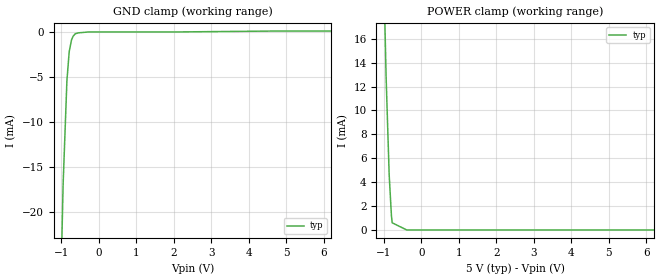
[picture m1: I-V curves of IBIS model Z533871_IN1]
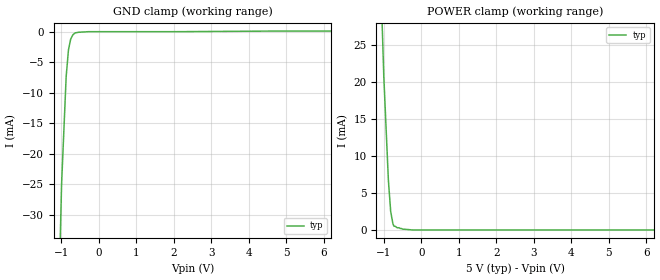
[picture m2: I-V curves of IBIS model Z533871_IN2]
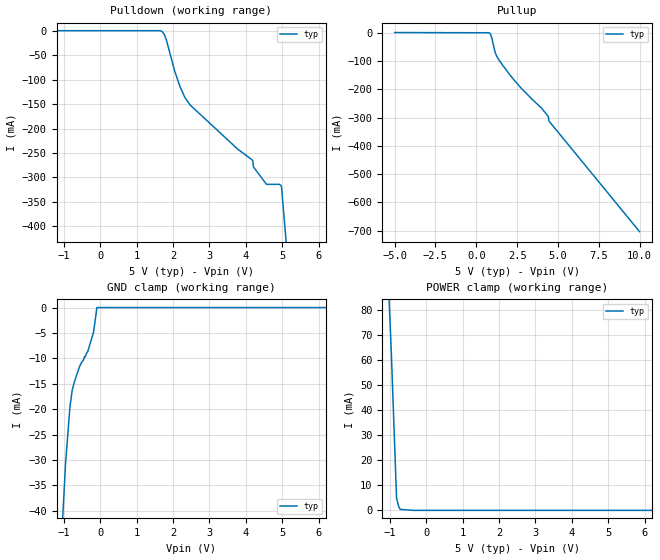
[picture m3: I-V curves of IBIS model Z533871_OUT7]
| YOU ARE ONLY AUTHORIZED TO USE THIS SOFTWARE
| ACCORDING TO LICENSOR'S LICENSE RESTRICTIONS.
[IBIS Ver] 3.1
[File Name] mc100el33d_pecl.ibs
[File Rev] 2.0
[Source] Measured and created by ICX Technology
[Date] Friday 7/14/00 9:07:48 AM
[Copyright]
| (C) COPYRIGHT 1993-2000
| MENTOR GRAPHICS CORPORATION
| ICX STANDARD LIBRARY, ICX PROJECT MODELING,
| ICX CUSTOM MODELING, ICX VENDOR MODEL
| ALL RIGHTS RESERVED.
| THE FOLLOWING ARE TRADEMARKS OR SERVICE MARKS OF
| MENTOR GRAPHICS CORPORATION:ICX (R), ICX STANDARD
| LIBRARY(R), ICX PROJECT MODELING(R), ICX CUSTOM
| MODELING(R), qualityIBIS(TM), MODELVIEWER(TM),
| AND MODELEDITOR(TM)
| ALL COPIES OF SOFTWARE, INCLUDING BUT NOT LIMITED TO
| ANY MODIFICATIONS, ENHANCEMENTS OR DERIVATIVE WORKS,
| MUST CONTAIN ALL MENTOR GRAPHICS CORPORATION'S
| NOTICES AND LEGENDS, INCLUDING THOSE EMBEDDED IN
| SOFTWARE AND THOSE AFFIXED TO SOFTWARE MEDIUM
| AND CONTAINER, AS RECEIVED FROM MENTOR GRAPHICS
| CORPORATION.
|  ZAP Model Builder 2.7
[Component] MC100EL33D_PECL
[Manufacturer] OnSemiconductor
[Package]
| variable   typ   min   max
R_pkg  .152ohms NA NA
L_pkg  2.714nH NA NA
C_pkg  .364pF NA NA
[Pin] signal_name  model_name  R_pin  L_pin C_pin
1 RESET Z533871_IN1 .154 2.924n .374p
2 CLK Z533871_IN2 .15 2.504n .354p
3 _CLK Z533871_IN2 .15 2.504n .354p
4 VBB POWER .154 2.924n .374p
5 VEE POWER .154 2.924n .374p
6 _Q Z533871_OUT7 .15 2.504n .354p
7 Q Z533871_OUT7 .15 2.504n .354p
8 VCC POWER .154 2.924n .374p
| Models and submodels in the file (3): Z533871_IN1 (Input), Z533871_IN2 (Input), Z533871_OUT7 (Output_ECL)
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| (C) COPYRIGHT 1993-2000
| MENTOR GRAPHICS CORPORATION
| ICX STANDARD LIBRARY, ICX PROJECT MODELING,
| ICX CUSTOM MODELING, ICX VENDOR MODEL
| ALL RIGHTS RESERVED.
| THE FOLLOWING ARE TRADEMARKS OR SERVICE MARKS OF
| MENTOR GRAPHICS CORPORATION:ICX (R), ICX STANDARD
| LIBRARY(R), ICX PROJECT MODELING(R), ICX CUSTOM
| MODELING(R), qualityIBIS(TM), MODELVIEWER(TM),
| AND MODELEDITOR(TM)
| ALL COPIES OF SOFTWARE, INCLUDING BUT NOT LIMITED TO
| ANY MODIFICATIONS, ENHANCEMENTS OR DERIVATIVE WORKS,
| MUST CONTAIN ALL MENTOR GRAPHICS CORPORATION'S
| NOTICES AND LEGENDS, INCLUDING THOSE EMBEDDED IN
| SOFTWARE AND THOSE AFFIXED TO SOFTWARE MEDIUM
| AND CONTAINER, AS RECEIVED FROM MENTOR GRAPHICS
| CORPORATION.
| Model Application Version 1.89 2/18/99.
[Model] Z533871_IN1
Model_type Input
Vinl = 2.700V
Vinh = 3.700V
C_comp 4.000pF NA NA
| variable typ   min   max
[Voltage Range] 5.000V NA NA
[GND Clamp Reference] 0.000V NA NA
[POWER Clamp Reference] 5.000V NA NA
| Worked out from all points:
|   GND clamp passes 1 mA (typ) near -0.73 V on its own axis
|   POWER clamp passes 1 mA (typ) near -0.79 V on its own axis
[GND Clamp]
-5V       -1.004A    NA         NA
-1.074V   -39.4mA    NA         NA
-952mV    -16.9mA    NA         NA
-851mV    -5.4mA     NA         NA
-790mV    -2.2mA     NA         NA
-729mV    -900uA     NA         NA
-689mV    -500uA     NA         NA
-628mV    -200uA     NA         NA
-273.5mV  0A         NA         NA
10V       100uA      NA         NA
[POWER Clamp]
-5V       1.402A     NA         NA
-1.243V   83.2mA     NA         NA
-1.101V   38.8mA     NA         NA
-1.04V    26.8mA     NA         NA
-939mV    12.8mA     NA         NA
-857mV    4.6mA      NA         NA
-797mV    1.2mA      NA         NA
-777mV    600uA      NA         NA
-388.5mV  0A         NA         NA
10V       0A         NA         NA
| (C) COPYRIGHT 1993-2000
| MENTOR GRAPHICS CORPORATION
| ICX STANDARD LIBRARY, ICX PROJECT MODELING,
| ICX CUSTOM MODELING, ICX VENDOR MODEL
| ALL RIGHTS RESERVED.
| THE FOLLOWING ARE TRADEMARKS OR SERVICE MARKS OF
| MENTOR GRAPHICS CORPORATION:ICX (R), ICX STANDARD
| LIBRARY(R), ICX PROJECT MODELING(R), ICX CUSTOM
| MODELING(R), qualityIBIS(TM), MODELVIEWER(TM),
| AND MODELEDITOR(TM)
| ALL COPIES OF SOFTWARE, INCLUDING BUT NOT LIMITED TO
| ANY MODIFICATIONS, ENHANCEMENTS OR DERIVATIVE WORKS,
| MUST CONTAIN ALL MENTOR GRAPHICS CORPORATION'S
| NOTICES AND LEGENDS, INCLUDING THOSE EMBEDDED IN
| SOFTWARE AND THOSE AFFIXED TO SOFTWARE MEDIUM
| AND CONTAINER, AS RECEIVED FROM MENTOR GRAPHICS
| CORPORATION.
| Model Application Version 1.89 2/18/99.
[Model] Z533871_IN2
Model_type Input
Vinl = 2.700V
Vinh = 3.700V
C_comp 4.000pF NA NA
| variable typ   min   max
[Voltage Range] 5.000V NA NA
[GND Clamp Reference] 0.000V NA NA
[POWER Clamp Reference] 5.000V NA NA
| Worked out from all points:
|   GND clamp passes 1 mA (typ) near -0.73 V on its own axis
|   POWER clamp passes 1 mA (typ) near -0.76 V on its own axis
[GND Clamp]
-5V       -1.035A    NA         NA
-993mV    -25mA      NA         NA
-871mV    -7.4mA     NA         NA
-810mV    -3mA       NA         NA
-750mV    -1.2mA     NA         NA
-689mV    -500uA     NA         NA
-628mV    -200uA     NA         NA
-547mV    -100uA     NA         NA
-273.5mV  0A         NA         NA
2.088V    0A         NA         NA
4.702V    100uA      NA         NA
10V       100uA      NA         NA
[POWER Clamp]
-5V       982.8mA    NA         NA
-1.101V   37mA       NA         NA
-1V       20.7mA     NA         NA
-878mV    6.7mA      NA         NA
-817mV    2.5mA      NA         NA
-756mV    800uA      NA         NA
-725.5mV  500uA      NA         NA
-644.5mV  300uA      NA         NA
-492.5mV  100uA      NA         NA
-226mV    0A         NA         NA
10V       0A         NA         NA
| (C) COPYRIGHT 1993-2000
| MENTOR GRAPHICS CORPORATION
| ICX STANDARD LIBRARY, ICX PROJECT MODELING,
| ICX CUSTOM MODELING, ICX VENDOR MODEL
| ALL RIGHTS RESERVED.
| THE FOLLOWING ARE TRADEMARKS OR SERVICE MARKS OF
| MENTOR GRAPHICS CORPORATION:ICX (R), ICX STANDARD
| LIBRARY(R), ICX PROJECT MODELING(R), ICX CUSTOM
| MODELING(R), qualityIBIS(TM), MODELVIEWER(TM),
| AND MODELEDITOR(TM)
| ALL COPIES OF SOFTWARE, INCLUDING BUT NOT LIMITED TO
| ANY MODIFICATIONS, ENHANCEMENTS OR DERIVATIVE WORKS,
| MUST CONTAIN ALL MENTOR GRAPHICS CORPORATION'S
| NOTICES AND LEGENDS, INCLUDING THOSE EMBEDDED IN
| SOFTWARE AND THOSE AFFIXED TO SOFTWARE MEDIUM
| AND CONTAINER, AS RECEIVED FROM MENTOR GRAPHICS
| CORPORATION.
| Model Application Version 1.89 2/18/99.
[Model] Z533871_OUT7
Model_type Output_ECL
Vref=3.000V
Rref=50.00ohms
Cref=0.000F
Vmeas=3.677V
C_comp 8.000pF NA NA
| variable typ   min   max
[Voltage Range] 5.000V NA NA
[POWER Clamp Reference] 5.000V NA NA
[Pullup Reference] 5.000V NA NA
[Pulldown Reference] 5.000V NA NA
[GND Clamp Reference] 0.000V NA NA
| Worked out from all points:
|   GND clamp passes 1 mA (typ) near -0.11 V on its own axis
|   POWER clamp passes 1 mA (typ) near -0.74 V on its own axis
[GND Clamp]
-5V       -775.3mA   NA         NA
-1.094V   -50mA      NA         NA
-952mV    -30.7mA    NA         NA
-831mV    -19.5mA    NA         NA
-770mV    -16.3mA    NA         NA
-709mV    -14.6mA    NA         NA
-567mV    -11.6mA    NA         NA
-435mV    -9.7mA     NA         NA
-344mV    -8.7mA     NA         NA
-182mV    -4.8mA     NA         NA
-91mV     0A         NA         NA
10V       0A         NA         NA
[Pulldown]
-5V       0A         NA         NA
1.697V    -1.5mA     NA         NA
1.818V    -18.9mA    NA         NA
2.041V    -81.2mA    NA         NA
2.183V    -112.7mA   NA         NA
2.467V    -151.7mA   NA         NA
3.784V    -242.5mA   NA         NA
4.19V     -265mA     NA         NA
4.21V     -278.4mA   NA         NA
4.568V    -314mA     NA         NA
4.919V    -314mA     NA         NA
10V       -4.761A    NA         NA
[Pullup]
-5V       719uA      NA         NA
850mV     -2.6mA     NA         NA
952mV     -19.6mA    NA         NA
1.154V    -70.2mA    NA         NA
1.256V    -83.9mA    NA         NA
1.924V    -139mA     NA         NA
2.715V    -194mA     NA         NA
3.992V    -266.3mA   NA         NA
4.418V    -297.2mA   NA         NA
4.438V    -309.6mA   NA         NA
4.458V    -313.1mA   NA         NA
10V       -703.8mA   NA         NA
[POWER Clamp]
-5V       1.136A     NA         NA
-1.339V   185mA      NA         NA
-1.116V   118.9mA    NA         NA
-954mV    62.26mA    NA         NA
-812mV    4.78mA     NA         NA
-751mV    1.388mA    NA         NA
-711mV    394.1uA    NA         NA
-355.5mV  0A         NA         NA
10V       0A         NA         NA
[Ramp]
| variable typ min max
dV/dt_r 342.1m/176.0p NA NA
dV/dt_f 342.1m/154.1p NA NA
R_load = 50.00Ohms
